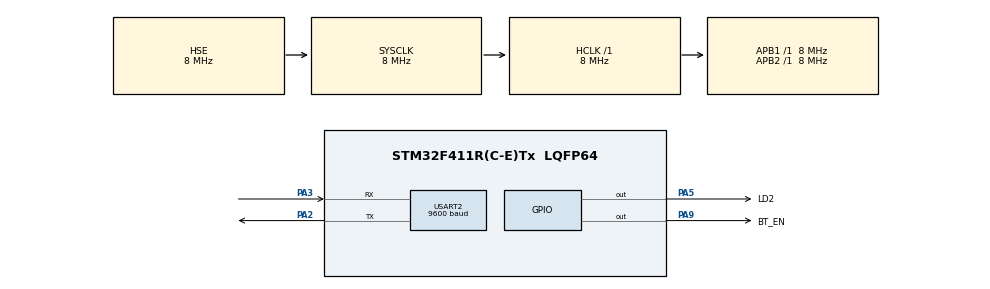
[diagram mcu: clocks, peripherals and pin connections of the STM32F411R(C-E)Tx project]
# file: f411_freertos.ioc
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Mcu.Family=STM32F4
Mcu.Name=STM32F411R(C-E)Tx
Mcu.Package=LQFP64
NVIC.PriorityGroup=NVIC_PRIORITYGROUP_4
NVIC.TIM3_IRQn=true\:15\:0\:false\:false\:true\:false\:true\:true
NVIC.TimeBase=TIM3_IRQn
NVIC.TimeBaseIP=TIM3
PA2.Mode=Asynchronous
PA2.Signal=USART2_TX
PA3.Mode=Asynchronous
PA3.Signal=USART2_RX
PA5.GPIO_Label=LD2
PA5.Signal=GPIO_Output
PA9.GPIO_Label=BT_EN
PA9.Signal=GPIO_Output
PH0\ -\ OSC_IN.Mode=HSE-External-Oscillator
PH0\ -\ OSC_IN.Signal=RCC_OSC_IN
PH1\ -\ OSC_OUT.Mode=HSE-External-Oscillator
PH1\ -\ OSC_OUT.Signal=RCC_OSC_OUT
ProjectManager.HeapSize=0x200
ProjectManager.StackSize=0x400
ProjectManager.TargetToolchain=Makefile
RCC.48MHZClocksFreq_Value=12500000
RCC.AHBFreq_Value=8000000
RCC.APB1Freq_Value=8000000
RCC.APB1TimFreq_Value=8000000
RCC.APB2Freq_Value=8000000
RCC.APB2TimFreq_Value=8000000
RCC.CortexFreq_Value=8000000
RCC.HCLKFreq_Value=8000000
RCC.HSE_VALUE=8000000
RCC.HSI_VALUE=16000000
RCC.LSE_VALUE=32768
RCC.PLLM=8
RCC.PLLN=50
RCC.PLLSourceVirtual=RCC_PLLSOURCE_HSE
RCC.SYSCLKFreq_VALUE=8000000
RCC.SYSCLKSource=RCC_SYSCLKSOURCE_HSE
RCC.VCOOutputFreq_Value=50000000
USART2.BaudRate=9600
USART2.VirtualMode=VM_ASYNC
VP_SYS_VS_tim3.Mode=TIM3
board=custom

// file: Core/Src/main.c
/* USER CODE BEGIN Header */
/**
  ******************************************************************************
  * @file           : main.c
  * @brief          : Main program body
  ******************************************************************************
  * @attention
  *
  * Copyright (c) 2023 STMicroelectronics.
  * All rights reserved.
  *
  * This software is licensed under terms that can be found in the LICENSE file
  * in the root directory of this software component.
  * If no LICENSE file comes with this software, it is provided AS-IS.
  *
  ******************************************************************************
  */
#include "FreeRTOS.h"
#include "task.h"
/* USER CODE END Header */
#include "main.h"

UART_HandleTypeDef huart2;

void SystemClock_Config(void);
static void MX_GPIO_Init(void);
static void MX_USART2_UART_Init(void);
/* USER CODE BEGIN PFP */
static void task1(void *pv);
/* USER CODE END PFP */

int main(void)
{

  /* MCU Configuration--------------------------------------------------------*/

  /* Reset of all peripherals, Initializes the Flash interface and the Systick. */
  HAL_Init();

  /* Configure the system clock */
  SystemClock_Config();

  /* Initialize all configured peripherals */
  MX_GPIO_Init();
  MX_USART2_UART_Init();
  /* USER CODE BEGIN 2 */
  for (uint8_t i = 0; i < 6; ++i) {
    HAL_GPIO_TogglePin(LD2_GPIO_Port, LD2_Pin);
    HAL_Delay(150);
  }

  xTaskCreate(task1,
              "BlinkLD2",
              configMINIMAL_STACK_SIZE * 2,
              NULL,
              3,
              NULL);

  vTaskStartScheduler();
  /* USER CODE END 2 */

  /* Infinite loop */
  while (1)
  {

  }
}

void SystemClock_Config(void)
{
  RCC_OscInitTypeDef RCC_OscInitStruct = {0};
  RCC_ClkInitTypeDef RCC_ClkInitStruct = {0};

  /** Configure the main internal regulator output voltage
  */
  __HAL_RCC_PWR_CLK_ENABLE();
  __HAL_PWR_VOLTAGESCALING_CONFIG(PWR_REGULATOR_VOLTAGE_SCALE1);

  /** Initializes the RCC Oscillators according to the specified parameters
  * in the RCC_OscInitTypeDef structure.
  */
  RCC_OscInitStruct.OscillatorType = RCC_OSCILLATORTYPE_HSE;
  RCC_OscInitStruct.HSEState = RCC_HSE_ON;
  RCC_OscInitStruct.PLL.PLLState = RCC_PLL_NONE;
  if (HAL_RCC_OscConfig(&RCC_OscInitStruct) != HAL_OK)
  {
    Error_Handler();
  }

  /** Initializes the CPU, AHB and APB buses clocks
  */
  RCC_ClkInitStruct.ClockType = RCC_CLOCKTYPE_HCLK|RCC_CLOCKTYPE_SYSCLK
                              |RCC_CLOCKTYPE_PCLK1|RCC_CLOCKTYPE_PCLK2;
  RCC_ClkInitStruct.SYSCLKSource = RCC_SYSCLKSOURCE_HSE;
  RCC_ClkInitStruct.AHBCLKDivider = RCC_SYSCLK_DIV1;
  RCC_ClkInitStruct.APB1CLKDivider = RCC_HCLK_DIV1;
  RCC_ClkInitStruct.APB2CLKDivider = RCC_HCLK_DIV1;

  if (HAL_RCC_ClockConfig(&RCC_ClkInitStruct, FLASH_LATENCY_0) != HAL_OK)
  {
    Error_Handler();
  }
}

static void MX_USART2_UART_Init(void)
{

  huart2.Instance = USART2;
  huart2.Init.BaudRate = 9600;
  huart2.Init.WordLength = UART_WORDLENGTH_8B;
  huart2.Init.StopBits = UART_STOPBITS_1;
  huart2.Init.Parity = UART_PARITY_NONE;
  huart2.Init.Mode = UART_MODE_TX_RX;
  huart2.Init.HwFlowCtl = UART_HWCONTROL_NONE;
  huart2.Init.OverSampling = UART_OVERSAMPLING_16;
  if (HAL_UART_Init(&huart2) != HAL_OK)
  {
    Error_Handler();
  }

}

static void MX_GPIO_Init(void)
{
  GPIO_InitTypeDef GPIO_InitStruct = {0};

  /* GPIO Ports Clock Enable */
  __HAL_RCC_GPIOH_CLK_ENABLE();
  __HAL_RCC_GPIOA_CLK_ENABLE();

  /*Configure GPIO pin Output Level */
  HAL_GPIO_WritePin(GPIOA, LD2_Pin|BT_EN_Pin, GPIO_PIN_RESET);

  /*Configure GPIO pins : LD2_Pin BT_EN_Pin */
  GPIO_InitStruct.Pin = LD2_Pin|BT_EN_Pin;
  GPIO_InitStruct.Mode = GPIO_MODE_OUTPUT_PP;
  GPIO_InitStruct.Pull = GPIO_NOPULL;
  GPIO_InitStruct.Speed = GPIO_SPEED_FREQ_LOW;
  HAL_GPIO_Init(GPIOA, &GPIO_InitStruct);

}

/* USER CODE BEGIN 4 */

void vApplicationStackOverflowHook(TaskHandle_t xTask,
                                   char *pcTaskName)
{
  while (1)
  {
    HAL_GPIO_TogglePin(LD2_GPIO_Port, LD2_Pin);
    HAL_Delay(150);
  }
}

static void task1(void *pv)
{
  while (1)
  {
    vTaskDelay(pdMS_TO_TICKS(1000));
  }
}

/* USER CODE END 4 */

void HAL_TIM_PeriodElapsedCallback(TIM_HandleTypeDef *htim)
{
  if (htim->Instance == TIM3) {
    HAL_IncTick();
  }
}

void Error_Handler(void)
{
  __disable_irq();
  while (1)
  {
  }
}
